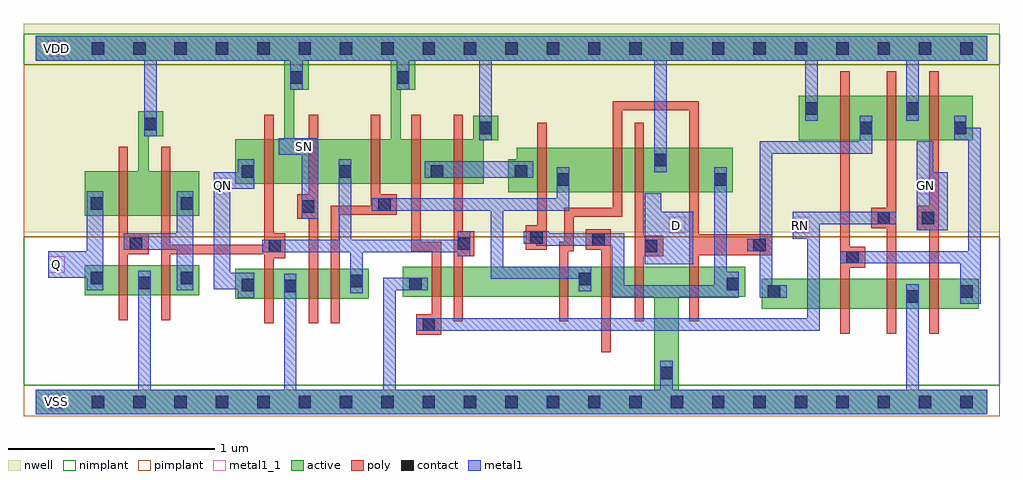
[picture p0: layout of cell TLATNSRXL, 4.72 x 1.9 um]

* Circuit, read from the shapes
.subckt TLATNSRXL D GN Q QN RN SN VDD VSS
M1 VSS n1 Q VSS nfet w=0.145u l=0.045u
M2 n1 n2 VSS VSS nfet w=0.145u l=0.045u
M3 VSS n2 QN VSS nfet w=0.145u l=0.045u
M4 n3 SN VSS VSS nfet w=0.145u l=0.045u
M5 n2 n4 n3 VSS nfet w=0.145u l=0.045u
M6 n5 RN VSS VSS nfet w=0.145u l=0.045u
M7 n6 n2 n5 VSS nfet w=0.145u l=0.045u
M8 n4 n7 n6 VSS nfet w=0.145u l=0.045u
M9 n8 n9 n4 VSS nfet w=0.145u l=0.045u
M10 VSS D n8 VSS nfet w=0.145u l=0.045u
M11 n9 n7 VSS VSS nfet w=0.145u l=0.045u
M12 n10 n11 n7 VSS nfet w=0.145u l=0.045u
M13 VSS RN n10 VSS nfet w=0.145u l=0.045u
M14 n11 GN VSS VSS nfet w=0.145u l=0.045u
M15 VDD n1 Q VDD pfet w=0.215u l=0.045u
M16 n1 n2 VDD VDD pfet w=0.215u l=0.045u
M17 VDD n2 QN VDD pfet w=0.215u l=0.045u
M18 n2 SN VDD VDD pfet w=0.215u l=0.045u
M19 VDD n4 n2 VDD pfet w=0.215u l=0.045u
M20 n12 RN VDD VDD pfet w=0.215u l=0.045u
M21 VDD n2 n12 VDD pfet w=0.215u l=0.045u
M22 n4 n9 n12 VDD pfet w=0.215u l=0.045u
M23 n13 n7 n4 VDD pfet w=0.215u l=0.045u
M24 VDD D n13 VDD pfet w=0.215u l=0.045u
M25 n9 n7 VDD VDD pfet w=0.215u l=0.045u
M26 n7 n11 VDD VDD pfet w=0.215u l=0.045u
M27 VDD RN n7 VDD pfet w=0.215u l=0.045u
M28 n11 GN VDD VDD pfet w=0.215u l=0.045u
.ends

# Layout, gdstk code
import gdstk
lib = gdstk.Library(unit=1e-6, precision=5e-10)
def R(c, l, rs):  # rectangles x0, y0, x1, y1
    for r in rs: c.add(gdstk.rectangle(r[:2], r[2:], *l))
def A(c, l, x, y, w, h, nx, ny, dx, dy):  # array of equal rectangles
    R(c, l, [(x+i*dx, y+j*dy, x+i*dx+w, y+j*dy+h) for i in range(nx) for j in range(ny)])
def P(c, l, *ps):  # polygons
    for p in ps: c.add(gdstk.Polygon(p, *l))
active = (1, 0)
nwell = (2, 0)
poly = (3, 0)
nimplant = (4, 0)
pimplant = (5, 0)
contact = (6, 0)
metal1 = (7, 0)
metal1_1 = (7, 1)

tlatnsrxl = lib.new_cell('TLATNSRXL')
R(tlatnsrxl, active, [(3.51,0.45,4.56,0.595), (0.965,0.5,1.61,0.645), (0.235,0.515,0.79,0.66), (3.69,1.265,4.53,1.48)])
P(tlatnsrxl, active, [(0,1.77),(4.6,1.77),(4.6,1.65),(1.835,1.65),(1.835,1.51),(1.765,1.51),(1.765,1.27),(2.115,1.27),(2.115,1.385),(2.235,1.385),(2.235,1.265),(2.165,1.265),(2.165,1.055),(0.965,1.055),(0.965,1.27),(1.2,1.27),(1.2,1.65),(1.32,1.65),(1.32,1.51),(1.25,1.51),(1.25,1.27),(1.715,1.27),(1.715,1.65),(0,1.65)],
  [(0.495,1.405),(0.615,1.405),(0.615,1.285),(0.545,1.285),(0.545,1.115),(0.79,1.115),(0.79,0.9),(0.235,0.9),(0.235,1.115),(0.495,1.115)],
  [(2.325,1.23),(3.37,1.23),(3.37,1.015),(2.285,1.015),(2.285,1.175),(2.325,1.175)],
  [(1.775,0.655),(3.43,0.655),(3.43,0.51),(3.11,0.51),(3.11,0.06),(4.6,0.06),(4.6,-0.06),(0,-0.06),(0,0.06),(2.99,0.06),(2.99,0.51),(1.775,0.51)])
R(tlatnsrxl, nwell, [(-0.06,0.82,4.66,1.83)])
P(tlatnsrxl, poly, [(0.4,1.235),(0.445,1.235),(0.445,0.815),(0.545,0.815),(0.545,0.715),(0.445,0.715),(0.445,0.395),(0.4,0.395)],
  [(0.605,1.235),(0.65,1.235),(0.65,0.76),(1.105,0.76),(1.105,1.39),(1.15,1.39),(1.15,0.815),(1.205,0.815),(1.205,0.695),(1.15,0.695),(1.15,0.38),(1.105,0.38),(1.105,0.715),(0.65,0.715),(0.65,0.395),(0.605,0.395)],
  [(1.32,1.39),(1.365,1.39),(1.365,0.38),(1.32,0.38),(1.32,0.885),(1.265,0.885),(1.265,1.005),(1.32,1.005)],
  [(1.62,1.39),(1.665,1.39),(1.665,1.005),(1.745,1.005),(1.745,0.905),(1.47,0.905),(1.47,0.38),(1.425,0.38),(1.425,0.95),(1.62,0.95)],
  [(2.79,1.455),(3.205,1.455),(3.205,0.81),(3.56,0.81),(3.56,0.71),(3.205,0.71),(3.205,0.39),(3.16,0.39),(3.16,1.41),(2.835,1.41),(2.835,0.895),(2.6,0.895),(2.6,0.73),(2.575,0.73),(2.575,0.39),(2.53,0.39),(2.53,0.775),(2.555,0.775),(2.555,0.94),(2.79,0.94)],
  [(1.815,1.39),(1.86,1.39),(1.86,0.775),(1.96,0.775),(1.96,0.325),(1.84,0.325),(1.84,0.425),(1.915,0.425),(1.915,0.73),(1.815,0.73)],
  [(2.02,1.39),(2.065,1.39),(2.065,0.825),(2.12,0.825),(2.12,0.705),(2.065,0.705),(2.065,0.39),(2.02,0.39)],
  [(2.425,1.35),(2.47,1.35),(2.47,0.735),(2.37,0.735),(2.37,0.855),(2.425,0.855)],
  [(2.895,1.35),(2.94,1.35),(2.94,0.805),(3.035,0.805),(3.035,0.705),(2.94,0.705),(2.94,0.39),(2.895,0.39)],
  [(3.89,1.6),(3.935,1.6),(3.935,0.75),(4.01,0.75),(4.01,0.65),(3.935,0.65),(3.935,0.33),(3.89,0.33)],
  [(4.115,1.6),(4.16,1.6),(4.16,0.33),(4.115,0.33),(4.115,0.84),(4.04,0.84),(4.04,0.94),(4.115,0.94)],
  [(4.32,1.6),(4.365,1.6),(4.365,0.33),(4.32,0.33),(4.32,0.83),(4.265,0.83),(4.265,0.95),(4.32,0.95)],
  [(2.66,0.835),(2.78,0.835),(2.78,0.24),(2.735,0.24),(2.735,0.735),(2.66,0.735)])
R(tlatnsrxl, nimplant, [(-0.06,0.08,4.66,0.8), (-0.06,1.63,4.66,1.78)])
R(tlatnsrxl, pimplant, [(-0.06,-0.07,4.66,0.08), (-0.06,0.8,4.66,1.63)])
A(tlatnsrxl, contact, 0.07, -0.03, 0.06, 0.06, 23, 2, 0.2, 1.71)
R(tlatnsrxl, contact, [(3.02,0.11,3.08,0.17), (1.87,0.345,1.93,0.405), (4.21,0.48,4.27,0.54), (3.54,0.505,3.6,0.565), (4.47,0.505,4.53,0.565), (1.2,0.53,1.26,0.59), (0.995,0.535,1.055,0.595), (1.805,0.54,1.865,0.6), (3.34,0.54,3.4,0.6), (0.495,0.545,0.555,0.605), (1.52,0.555,1.58,0.615), (2.625,0.565,2.685,0.625), (0.265,0.57,0.325,0.63), (0.7,0.57,0.76,0.63), (3.92,0.67,3.98,0.73), (1.125,0.725,1.185,0.785), (2.945,0.725,3.005,0.785), (3.47,0.73,3.53,0.79), (0.455,0.735,0.515,0.795), (2.04,0.735,2.1,0.795), (2.69,0.755,2.75,0.815), (2.39,0.765,2.45,0.825), (4.07,0.86,4.13,0.92), (4.285,0.86,4.345,0.92), (1.285,0.915,1.345,0.975), (1.655,0.925,1.715,0.985), (0.265,0.93,0.325,0.99), (0.7,0.93,0.76,0.99), (2.52,1.045,2.58,1.105), (3.28,1.045,3.34,1.105), (0.995,1.085,1.055,1.145), (1.465,1.085,1.525,1.145), (1.91,1.085,1.97,1.145), (2.315,1.085,2.375,1.145), (2.99,1.14,3.05,1.2), (2.145,1.295,2.205,1.355), (3.985,1.295,4.045,1.355), (4.44,1.295,4.5,1.355), (0.525,1.315,0.585,1.375), (3.72,1.39,3.78,1.45), (4.21,1.39,4.27,1.45), (1.23,1.54,1.29,1.6), (1.745,1.54,1.805,1.6)])
R(tlatnsrxl, metal1, [(1.88,1.085,2.405,1.165)])
P(tlatnsrxl, metal1, [(0,1.77),(4.6,1.77),(4.6,1.65),(4.27,1.65),(4.27,1.36),(4.21,1.36),(4.21,1.65),(3.78,1.65),(3.78,1.36),(3.72,1.36),(3.72,1.65),(3.05,1.65),(3.05,1.11),(2.99,1.11),(2.99,1.65),(2.205,1.65),(2.205,1.265),(2.145,1.265),(2.145,1.65),(1.805,1.65),(1.805,1.51),(1.745,1.51),(1.745,1.65),(1.29,1.65),(1.29,1.51),(1.23,1.51),(1.23,1.65),(0.585,1.65),(0.585,1.285),(0.525,1.285),(0.525,1.65),(0,1.65)],
  [(0.975,1.175),(1.055,1.175),(1.055,1.03),(0.94,1.03),(0.94,0.625),(1.055,0.625),(1.055,0.505),(0.975,0.505),(0.975,0.545),(0.86,0.545),(0.86,1.11),(0.975,1.11)],
  [(1.465,1.175),(1.525,1.175),(1.525,0.785),(2.04,0.785),(2.04,0.825),(2.1,0.825),(2.1,0.705),(2.04,0.705),(2.04,0.725),(1.58,0.725),(1.58,0.525),(1.52,0.525),(1.52,0.725),(1.095,0.725),(1.095,0.785),(1.465,0.785)],
  [(0.245,1.02),(0.325,1.02),(0.325,0.54),(0.245,0.54),(0.245,0.6),(0.06,0.6),(0.06,0.73),(0.245,0.73)],
  [(0.68,1.02),(0.76,1.02),(0.76,0.54),(0.68,0.54),(0.68,0.735),(0.425,0.735),(0.425,0.815),(0.68,0.815)],
  [(1.175,1.275),(1.365,1.275),(1.365,0.885),(1.285,0.885),(1.285,1.195),(1.175,1.195)],
  [(0.495,0.635),(0.555,0.635),(0.555,0.06),(1.2,0.06),(1.2,0.62),(1.26,0.62),(1.26,0.06),(1.68,0.06),(1.68,0.6),(1.895,0.6),(1.895,0.54),(1.74,0.54),(1.74,0.06),(3.02,0.06),(3.02,0.2),(3.08,0.2),(3.08,0.06),(4.21,0.06),(4.21,0.57),(4.27,0.57),(4.27,0.06),(4.6,0.06),(4.6,-0.06),(0,-0.06),(0,0.06),(0.495,0.06)],
  [(2.52,1.135),(2.58,1.135),(2.58,0.925),(2.26,0.925),(2.26,0.655),(2.685,0.655),(2.685,0.535),(2.625,0.535),(2.625,0.595),(2.2,0.595),(2.2,0.925),(1.625,0.925),(1.625,0.985),(2.52,0.985)],
  [(2.36,0.825),(2.48,0.825),(2.48,0.815),(2.845,0.815),(2.845,0.565),(3.28,0.565),(3.28,1.135),(3.34,1.135),(3.34,0.63),(3.4,0.63),(3.4,0.505),(2.785,0.505),(2.785,0.755),(2.42,0.755),(2.42,0.765),(2.36,0.765)],
  [(3.985,1.385),(4.045,1.385),(4.045,1.2),(3.56,1.2),(3.56,0.565),(3.63,0.565),(3.63,0.505),(3.5,0.505),(3.5,0.73),(3.44,0.73),(3.44,0.79),(3.5,0.79),(3.5,1.26),(3.985,1.26)],
  [(4.44,1.385),(4.5,1.385),(4.5,1.325),(4.57,1.325),(4.57,0.475),(4.47,0.475),(4.47,0.67),(3.89,0.67),(3.89,0.73),(4.51,0.73),(4.51,1.265),(4.44,1.265)],
  [(2.945,1.01),(3.025,1.01),(3.025,0.92),(3.18,0.92),(3.18,0.665),(2.945,0.665)],
  [(4.26,1.26),(4.34,1.26),(4.34,1.11),(4.41,1.11),(4.41,0.83),(4.26,0.83)],
  [(3.66,0.92),(4.16,0.92),(4.16,0.86),(3.79,0.86),(3.79,0.345),(1.84,0.345),(1.84,0.405),(3.73,0.405),(3.73,0.79),(3.66,0.79)])
R(tlatnsrxl, metal1_1, [(0.06,-0.04,0.14,0.04), (0.06,0.625,0.14,0.705), (3.06,0.815,3.14,0.895), (3.66,0.815,3.74,0.895), (0.86,1.005,0.94,1.085), (4.26,1.005,4.34,1.085), (1.26,1.195,1.34,1.275), (0.06,1.67,0.14,1.75)])
tlatnsrxl.add(gdstk.Label('QN', (0.9,1.045), layer=7, texttype=1))
tlatnsrxl.add(gdstk.Label('Q', (0.1,0.665), layer=7, texttype=1))
tlatnsrxl.add(gdstk.Label('GN', (4.3,1.045), layer=7, texttype=1))
tlatnsrxl.add(gdstk.Label('RN', (3.7,0.855), layer=7, texttype=1))
tlatnsrxl.add(gdstk.Label('D', (3.1,0.855), layer=7, texttype=1))
tlatnsrxl.add(gdstk.Label('SN', (1.3,1.235), layer=7, texttype=1))
tlatnsrxl.add(gdstk.Label('VDD', (0.1,1.71), layer=7, texttype=1))
tlatnsrxl.add(gdstk.Label('VSS', (0.1,0), layer=7, texttype=1))
tlatnsrxl.add(gdstk.Label('TLATNSRXL', (0,0), layer=63, texttype=0))

lib.write_gds('TLATNSRXL.gds')
